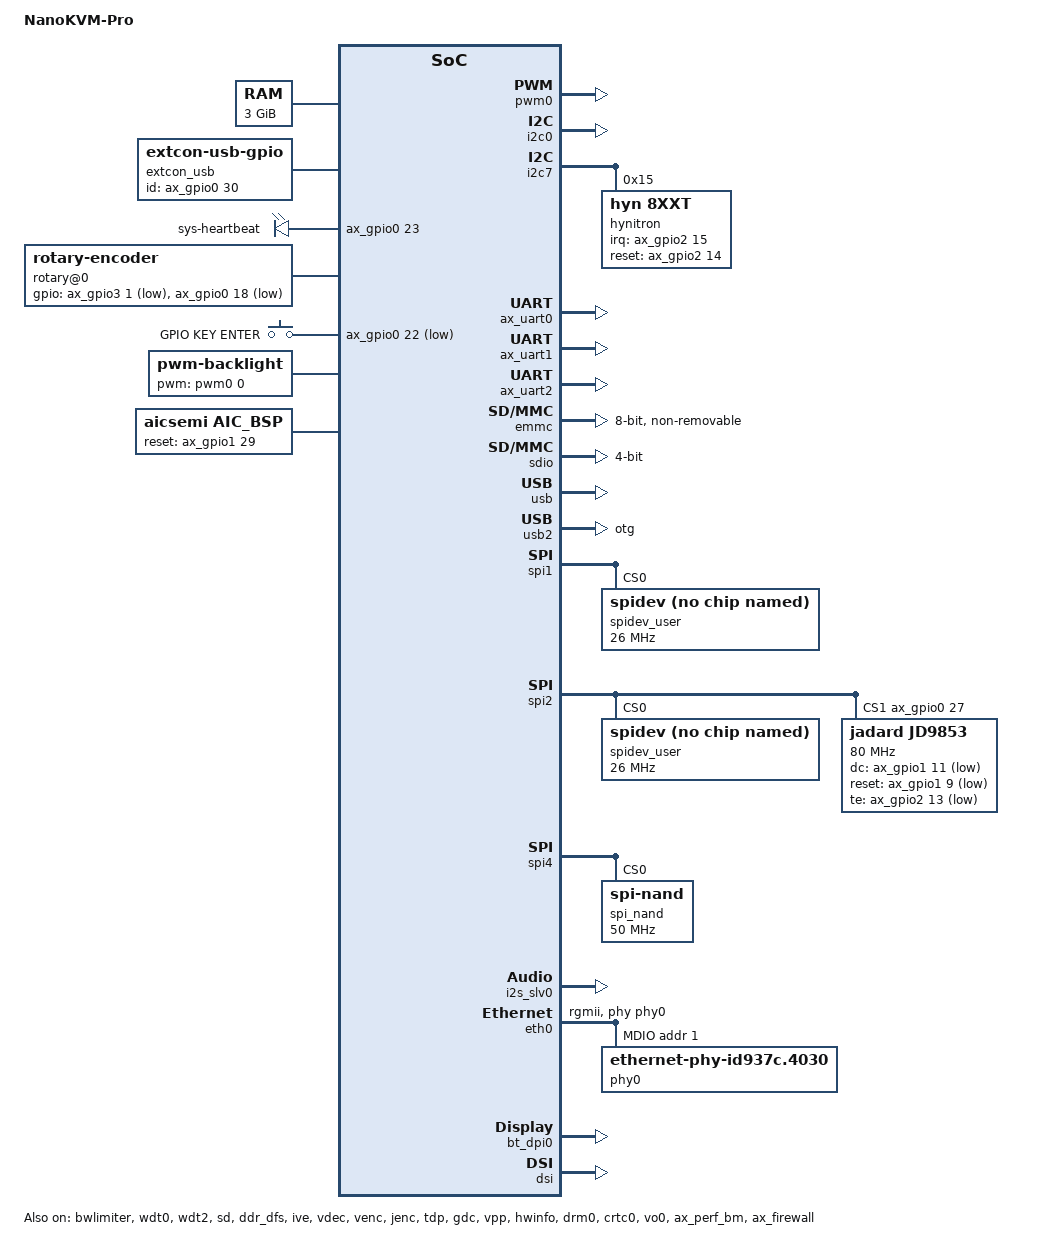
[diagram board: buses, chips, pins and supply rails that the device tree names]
// SPDX-License-Identifier: GPL-2.0
/**************************************************************************************************
 *
 * Copyright (c) 2019-2024 Axera Semiconductor Co., Ltd. All Rights Reserved.
 *
 * This dts file is the property of Axera Semiconductor Co., Ltd. and
 * may not be copied or distributed in any isomorphic form without the prior
 * written consent of Axera Semiconductor Co., Ltd.
 *
 **************************************************************************************************/

/dts-v1/;
#include "AX620E.dtsi"
/ {
	model = "NanoKVM-Pro";
	memory@40000000 {
		device_type = "memory";
		reg = <0x0 0x40000000 0x0 0xC0000000>;
	};
	reserved-memory {
		#address-cells = <2>;
		#size-cells = <2>;
		ranges;
		ramoops_mem@48000000 {
			compatible = "ramoops";
			reg = <0x0 0x48000000 0x0 0xf0000>;
			record-size = <0x40000>;
			console-size = <0x80000>;
			ftrace-size = <0x20000>;
		};
		axera_memory_dump@0 {
			compatible = "axera_memory_dump";
			reg = <0x0 0x480f0000 0x0 0x3000>;
			dump_ranges = <0x0 0x40001000 0x1 0x00000000>;
			no-map;
		};
		atf_reserved: atf_memreserved {
			reg = <ATF_RESERVED_START_HI ATF_RESERVED_START_LO ATF_RESERVED_SIZE_HI ATF_RESERVED_SIZE_LO>;
			no-map;
		};
#ifdef OPTEE_BOOT
		optee_reserved: optee_memserved {
			reg = <OPTEE_RESERVED_START_HI OPTEE_RESERVED_START_LO OPTEE_RESERVED_SIZE_HI OPTEE_RESERVED_SIZE_LO>;
			no-map;
		};
#endif
		axera_ddr_retrain@0 {
			compatible = "axera_ddr_retrain";
			reg = <0x0 0x40000000 0x0 0x1000>;
		};
	};

	chosen {
		bootargs = BOOTARGS;
	};

	dummy_codec: dummy-codec {
		compatible = "dummy-codec";
		#sound-dai-cells = <0>;
	};

	sound {
		status = "okay";
		compatible = "simple-audio-card";
		simple-audio-card,name = "Lontium Lt6911UXC";
		simple-audio-card,format = "i2s";
		simple-audio-card,bitclock-master = <&lt6911_codec>;
		simple-audio-card,frame-master = <&lt6911_codec>;

		simple-audio-card,cpu {
			sound-dai = <&i2s_slv0>;
		};

		lt6911_codec: simple-audio-card,codec {
			sound-dai = <&dummy_codec>;
		};
	};

	vfb0: vfb@0 {
		compatible = "axera,vfb";
		id = <0>;
		width = <480>;
		height = <640>;
		bpp = <32>;
		buf-num = <2>;
		status = "disabled";
	};

	vfb1: vfb@1 {
		compatible = "axera,vfb";
		id = <1>;
		width = <1920>;
		height = <1080>;
		bpp = <32>;
		buf-num = <2>;
		status = "disabled";
	};

	vfb2: vfb@2 {
		compatible = "axera,vfb";
		id = <2>;
		width = <64>;
		height = <64>;
		bpp = <32>;
		buf-num = <1>;
		cursor;
		status = "disabled";
	};

	axera_logctl {
		compatible = "axera,logctl";
		config = "/etc/ax_syslog.conf";
		logstate = /bits/ 8 <1 1>;
		loglevel = /bits/ 8 <4 4>;
	};

	extcon_usb: extcon_usb {
		compatible = "linux,extcon-usb-gpio";
		id-gpio = <&ax_gpio0 30 0>; /* GPIO0_A30 */
		status = "okay";
	};

	leds {
		status = "okay";
		compatible = "gpio-leds";
		pinctrl-names = "default";
		pinctrl-0 = <&sd_pwr_en_gpio0_a23_pins>;

        led-heartbeat {
            label = "sys-heartbeat";
            gpios = <&ax_gpio0 23 0>;
            linux,default-trigger = "heartbeat";
			status = "okay";
        };
	};

	rotary@0 {
		status = "okay";
		compatible = "rotary-encoder";
		pinctrl-names = "default";
		pinctrl-0 = <&gpio3_a1_pins>,
					<&bond2_gpio0_a18_pins>;
		gpios = <&ax_gpio3 1 1>, <&ax_gpio0 18 1>;
		linux,axis = <0>; /* REL_X */
		rotary-encoder,encoding = "gray";
		rotary-encoder,relative-axis;
		rotary-encoder,steps-per-period = <4>;
	};

	gpio_keys {
		status = "okay";
		compatible = "gpio-keys";
		pinctrl-names = "default";
		pinctrl-0 = <&tck_gpio0_a22_pins>;
		autorepeat;

		rokey: rokey {
			label = "GPIO KEY ENTER";
			linux,code = <28>;
			gpios = <&ax_gpio0 22 1>;
			debounce-interval = <10>;
		};
	};

	backlight: backlight {
		status = "okay";
		compatible = "pwm-backlight";
		pwms = <&pwm0 0 462963>;
		brightness-levels = <0 101>;
		num-interpolated-steps = <100>;
		default-brightness-level = <100>;
	};

	aic_bsp {
		compatible = "aicsemi,aic_bsp";
		reset-gpio = <&ax_gpio1 29 0>; // GPIO1_A29
		pinctrl-names = "default";
		pinctrl-0 = <&ephy_led1_gpio1_a29_pins>;
		status = "okay";
	};
};

&pwm0 {
	status = "okay";
	pinctrl-names = "default";
	pinctrl-0 = <&emac_ptp_pps0_pwm0_m_pins>;
};

&pwm1 {
	status = "disabled";
};

&pwm2 {
	status = "disabled";
};

&deb_gpio_lp {
	lp-status = <11 1>; /* use db_gpio11 as wakeup source */
	status = "okay";
};

&bwlimiter {
	status = "okay";
};

&i2c0 {
	/delete-property/ pinctrl-names;
	/delete-property/ pinctrl-0;
	/delete-property/ pinctrl-1;
	status = "okay";
};

&i2c1 {
	/delete-property/ pinctrl-names;
	/delete-property/ pinctrl-0;
	/delete-property/ pinctrl-1;
	status = "disabled";
};

&i2c6 {
	/delete-property/ pinctrl-names;
	/delete-property/ pinctrl-0;
	/delete-property/ pinctrl-1;
	status = "disabled";
};

&i2c7 {
	status = "okay";
	/delete-property/ pinctrl-names;
	/delete-property/ pinctrl-0;
	/delete-property/ pinctrl-1;
	#address-cells = <0x1>;
	#size-cells = <0x0>;

	hynitron: hynitron@15 {
		compatible = "hyn,8xxt";
        reg = <0x15>;
		pinctrl-names = "ts_active","ts_suspend";
		pinctrl-0 = <&cdtx_l2p_gpio2_a15_pins>,
					<&cdtx_l2n_gpio2_a14_pins>;
		pinctrl-1 = <&cdtx_l2p_gpio2_a15_pins>,
					<&cdtx_l2n_gpio2_a14_pins>;

		irq-gpio = <&ax_gpio2 15 0>;
		reset-gpio = <&ax_gpio2 14 0>;
		max-touch-number = <5>;

		display-coords = <0 0 172 320>;
		pos-swap = <0>;
		posx-reverse = <0>;
		posy-reverse = <0>;
		status = "okay";
	};
};

&i2c_slv0 {
	status = "disabled";
	#address-cells = <0x1>;
	#size-cells = <0x0>;
	i2c_slave_eeprom: i2c_slave_eeprom@55 {
		compatible = "axera,slave-24c02";
		reg = <0x40000055>;
		status = "okay";
	};
};

&ax_uart0 {
	status = "okay";
};

&ax_uart1 {
	status = "okay";
};

&ax_uart2 {
	status = "okay";
};

&ax_uart3 {
	status = "disabled";
};

&ax_uart4 {
	status = "disabled";
};

&ax_uart5 {
	pinctrl-names = "default";
	pinctrl-0 = <&emac_ptp_pps0_uart5_cts_pins>,
				<&emac_ptp_pps1_uart5_rts_pins>,
				<&emac_ptp_pps2_uart5_txd_pins>,
				<&emac_ptp_pps3_uart5_rxd_pins>;
	status = "disabled";
};

&wdt0 {
	status = "okay";
};

&wdt2 {
	status = "okay";
};

&emmc{
	max-frequency = <200000000>;
	sdhci-caps-mask = <0x2 0x03200000>;
	bus-width = <8>;
	no-sdio;
	no-sd;
	non-removable;
	disable-wp;
	cap-mmc-hw-reset;
	/* AX630C use GPIO2_A23 */
	hw-reset = <&ax_gpio2 23 0>;
	/* AX620Q use GPIO1_A0 */
	/* hw-reset = <&ax_gpio1 0 0>; */
	cap-mmc-highspeed;
	mmc-hs200-1_8v;
	mmc-hs400-1_8v;
	mmc-hs400-enhanced-strobe;
	cdns,phy-input-delay-sd-highspeed = <2>;
	cdns,phy-input-delay-legacy = <4>;
	cdns,phy-input-delay-sd-uhs-sdr12 = <1>;
	cdns,phy-input-delay-sd-uhs-sdr25 = <2>;
	cdns,phy-input-delay-sd-uhs-sdr50 = <1>;
	cdns,phy-input-delay-sd-uhs-ddr50 = <2>;
	cdns,phy-input-delay-mmc-legacy = <1>;
	cdns,phy-input-delay-mmc-highspeed = <2>;
	cdns,phy-input-delay-mmc-ddr = <2>;
	cdns,phy-dll-delay-sdclk = <45>;
	cdns,phy-dll-delay-sdclk-hsmmc = <31>;
	cdns,phy-dll-delay-strobe = <18>;
	fixed-emmc-driver-type = <4>;
	status = "okay";
};

&sd{
	sdhci-caps-mask = <0x7 0x00200000>;
	bus-width = <4>;
	max-frequency = <200000000>;
	cap-sd-highspeed;
	sd-uhs-sdr12;
	sd-uhs-sdr25;
	sd-uhs-sdr50;
	sd-uhs-ddr50;
	sd-uhs-sdr104;
	no-sdio;
	no-mmc;
	disable-wp;
#if 1
	broken-cd;
#else
	cd-gpios = <&ax_gpio1 11 0>;
	cd-inverted;
	cd-debounce-delay-ms = <300>;
#endif

	cdns,phy-input-delay-sd-highspeed = <2>;
	cdns,phy-input-delay-legacy = <3>;
	cdns,phy-input-delay-sd-uhs-sdr12 = <3>;
	cdns,phy-input-delay-sd-uhs-sdr25 = <2>;
	cdns,phy-input-delay-sd-uhs-sdr50 = <1>;
	cdns,phy-input-delay-sd-uhs-ddr50 = <1>;
	cdns,phy-dll-delay-sdclk = <0>;

	status = "okay";
};

&sdio{
	sdhci-caps-mask = <0x7 0x00200000>;
	bus-width = <4>;
	max-frequency = <200000000>;
	cap-sd-highspeed;
	sd-uhs-sdr25;
	sd-uhs-sdr12;
	sd-uhs-sdr50;
	sd-uhs-ddr50;
	//sd-uhs-sdr104;
	no-1-8-v;
	no-sd;
	no-mmc;
	disable-wp;
	broken-cd;
	cdns,phy-input-delay-sd-highspeed = <2>;
	cdns,phy-input-delay-legacy = <3>;
	cdns,phy-input-delay-sd-uhs-sdr12 = <3>;
	cdns,phy-input-delay-sd-uhs-sdr25 = <2>;
	cdns,phy-input-delay-sd-uhs-sdr50 = <1>;
	cdns,phy-input-delay-sd-uhs-ddr50 = <1>;
	cdns,phy-dll-delay-sdclk = <0>;

	status = "okay";
};

&usb {
	status = "okay";
};

&usb2 {
	dr_mode = "otg";
	extcon = <&extcon_usb>;
};

&spi0 {
	status = "disabled";
	spidev_user@0 {
		status = "okay";
		compatible = "axera,spidev";
		reg = <0>;
		spi-max-frequency = <26000000>;
	};
};

&spi1 {
	/* /delete-property/ dma-names; */
	/* /delete-property/ dmas; */
	/delete-property/ cs-gpios;
	status = "okay";
	pinctrl-names = "default";
	pinctrl-0 = <&vi_d0_spi_m1_mosi_pins>;

	spidev_user@0 {
		status = "okay";
		compatible = "axera,spidev";
		reg = <0>;
		spi-max-frequency = <26000000>;
	};
};

&spi2 {
	/* /delete-property/ dma-names; */
	/* /delete-property/ dmas; */
	status = "okay";
	pinctrl-names = "default";
	pinctrl-0 = <&uart3_txd_spi_m2_mosi_pins>,
				<&i2c1_scl_spi_m2_sclk_pins>,
				<&i2c1_sda_gpio0_a27_pins>,
				<&emac_ptp_pps3_gpio1_a11_pins>,
				<&emac_ptp_pps1_gpio1_a9_pins>,
				<&cdtx_l1p_gpio2_a13_pins>;
	num-cs = <2>;
	cs-gpios = <0>,<&ax_gpio0 27 0>;

	spidev_user@0 {
		status = "okay";
		compatible = "axera,spidev";
		reg = <0>;
		spi-max-frequency = <26000000>;
	};

	jd9853: jd9853@1{
		compatible = "jadard,jd9853";
		reg = <1>;
		status = "okay";
		spi-max-frequency = <80000000>;
		spi-cpol;
		spi-cpha;
		rotate = <0>;
		fps = <90>;
		rgb;
		buswidth = <8>;
		dc-gpios = <&ax_gpio1 11 1>;
		reset-gpios = <&ax_gpio1 9 1>;
		te-gpios = <&ax_gpio2 13 1>;
		debug = <0x1>;
	};
};

&spi_slv {
	status = "disabled";
	stream-tx-gpio = <&ax_gpio2 13 0>;
	stream-rx-gpio = <&ax_gpio2 14 0>;
};

&spi4 {
	status = "okay";
	spi_nand@0 {
		compatible = "spi-nand";
		reg = <0>;
		rx-sample-delay-ns = <4>;
		spi-max-frequency = <50000000>;
	};
	/*spi_flash@0 {
		#address-cells = <1>;
		#size-cells = <1>;
		compatible = "jedec,spi-nor";
		reg = <0>;
		spi-max-frequency = <50000000>;
	};*/
};

&audio_codec {
	gpio-mic-rp = <&ax_gpio1 7 0>; /* GPIO1_A7 */
	gpio-mic-rn = <&ax_gpio1 6 0>; /* GPIO1_A6 */
	gpio-mic-ln = <&ax_gpio1 5 0>; /* GPIO1_A5 */
	gpio-mic-lp = <&ax_gpio1 4 0>; /* GPIO1_A4 */
	gpio-pa-speaker = <&ax_gpio1 17 0>; /* GPIO1_A17 */
	status = "disabled";
};

&i2s_inner_mst0 {
	status = "disabled";
	/*i2s - pad0*/
	i2s-m-aec-cycle-sel = <0>;    /*23-22*/
	i2s-m-aec-sclk-sel = <0>;     /*21*/
	i2s-inner-codec-en = <1>;     /*20*/
	i2s-exter-codec-en = <0>;     /*19*/
	i2s-m-exter-codec-en = <0>;   /*18*/
	i2s-exter-codec-mst = <0>;    /*17*/
	i2s-m-exter-codec-mst = <0>;  /*16*/
	iis-out-tdm-en = <0>;         /*15*/
	iis-m-out-tdm-en = <0>;       /*14*/
	i2s-m-rx0-sel = <0>;          /*13*/
	i2s-m-rx1-sel = <0>;          /*12-11*/
	i2s-s-rx0-sel = <0>;          /*10-9*/
	i2s-s-rx1-sel = <2>;          /*8-7*/
	i2s-s-sclk-sel = <0>;         /*6-5*/
	tdm-m-rx-sel = <0>;           /*4-3*/
	tdm-s-rx-sel = <0>;           /*2-1*/
	tdm-s-sclk-sel = <0>;         /*0*/
};

&i2s_inner_slv0 {
	status = "disabled";
	/*i2s - pad0*/
	i2s-m-aec-cycle-sel = <0>;    /*23-22*/
	i2s-m-aec-sclk-sel = <0>;     /*21*/
	i2s-inner-codec-en = <1>;     /*20*/
	i2s-exter-codec-en = <0>;     /*19*/
	i2s-m-exter-codec-en = <0>;   /*18*/
	i2s-exter-codec-mst = <0>;    /*17*/
	i2s-m-exter-codec-mst = <0>;  /*16*/
	iis-out-tdm-en = <0>;         /*15*/
	iis-m-out-tdm-en = <0>;       /*14*/
	i2s-m-rx0-sel = <0>;          /*13*/
	i2s-m-rx1-sel = <0>;          /*12-11*/
	i2s-s-rx0-sel = <0>;          /*10-9*/
	i2s-s-rx1-sel = <2>;          /*8-7*/
	i2s-s-sclk-sel = <0>;         /*6-5*/
	tdm-m-rx-sel = <0>;           /*4-3*/
	tdm-s-rx-sel = <0>;           /*2-1*/
	tdm-s-sclk-sel = <0>;         /*0*/
};

&i2s_mst0 {
	status = "disabled";
	/*i2s - pad0*/
	i2s-m-aec-cycle-sel = <0>;    /*23-22*/
	i2s-m-aec-sclk-sel = <0>;     /*21*/
	i2s-inner-codec-en = <0>;     /*20*/
	i2s-exter-codec-en = <1>;     /*19*/
	i2s-m-exter-codec-en = <0>;   /*18*/
	i2s-exter-codec-mst = <1>;    /*17*/
	i2s-m-exter-codec-mst = <0>;  /*16*/
	iis-out-tdm-en = <0>;         /*15*/
	iis-m-out-tdm-en = <0>;       /*14*/
	i2s-m-rx0-sel = <0>;          /*13*/
	i2s-m-rx1-sel = <2>;          /*12-11*/
	i2s-s-rx0-sel = <0>;          /*10-9*/
	i2s-s-rx1-sel = <0>;          /*8-7*/
	i2s-s-sclk-sel = <0>;         /*6-5*/
	tdm-m-rx-sel = <0>;           /*4-3*/
	tdm-s-rx-sel = <0>;           /*2-1*/
	tdm-s-sclk-sel = <0>;         /*0*/
};

&i2s_slv0 {
	status = "okay";
	/*i2s - pad0*/
	i2s-m-aec-cycle-sel = <0>;    /*23-22*/
	i2s-m-aec-sclk-sel = <0>;     /*21*/
	i2s-inner-codec-en = <0>;     /*20*/
	i2s-exter-codec-en = <1>;     /*19*/
	i2s-m-exter-codec-en = <0>;   /*18*/
	i2s-exter-codec-mst = <0>;    /*17*/
	i2s-m-exter-codec-mst = <0>;  /*16*/
	iis-out-tdm-en = <0>;         /*15*/
	iis-m-out-tdm-en = <0>;       /*14*/
	i2s-m-rx0-sel = <0>;          /*13*/
	i2s-m-rx1-sel = <0>;          /*12-11*/
	i2s-s-rx0-sel = <3>;          /*10-9*/
	i2s-s-rx1-sel = <0>;          /*8-7*/
	i2s-s-sclk-sel = <1>;         /*6-5*/
	tdm-m-rx-sel = <0>;           /*4-3*/
	tdm-s-rx-sel = <0>;           /*2-1*/
	tdm-s-sclk-sel = <0>;         /*0*/
};

&i2s_tdm_mst0 {
	status = "disabled";
	/*i2s - pad0*/
	i2s-m-aec-cycle-sel = <0>;    /*23-22*/
	i2s-m-aec-sclk-sel = <0>;     /*21*/
	i2s-inner-codec-en = <0>;     /*20*/
	i2s-exter-codec-en = <1>;     /*19*/
	i2s-m-exter-codec-en = <0>;   /*18*/
	i2s-exter-codec-mst = <1>;    /*17*/
	i2s-m-exter-codec-mst = <0>;  /*16*/
	iis-out-tdm-en = <1>;         /*15*/
	iis-m-out-tdm-en = <0>;       /*14*/
	i2s-m-rx0-sel = <0>;          /*13*/
	i2s-m-rx1-sel = <0>;          /*12-11*/
	i2s-s-rx0-sel = <0>;          /*10-9*/
	i2s-s-rx1-sel = <0>;          /*8-7*/
	i2s-s-sclk-sel = <0>;         /*6-5*/
	tdm-m-rx-sel = <0>;           /*4-3*/
	tdm-s-rx-sel = <0>;           /*2-1*/
	tdm-s-sclk-sel = <0>;         /*0*/
};

&i2s_tdm_slv0 {
	status = "disabled";
	/*i2s - pad0*/
	i2s-m-aec-cycle-sel = <0>;    /*23-22*/
	i2s-m-aec-sclk-sel = <0>;     /*21*/
	i2s-inner-codec-en = <0>;     /*20*/
	i2s-exter-codec-en = <1>;     /*19*/
	i2s-m-exter-codec-en = <0>;   /*18*/
	i2s-exter-codec-mst = <0>;    /*17*/
	i2s-m-exter-codec-mst = <0>;  /*16*/
	iis-out-tdm-en = <0>;         /*15*/
	iis-m-out-tdm-en = <0>;       /*14*/
	i2s-m-rx0-sel = <0>;          /*13*/
	i2s-m-rx1-sel = <0>;          /*12-11*/
	i2s-s-rx0-sel = <0>;          /*10-9*/
	i2s-s-rx1-sel = <0>;          /*8-7*/
	i2s-s-sclk-sel = <0>;         /*6-5*/
	tdm-m-rx-sel = <0>;           /*4-3*/
	tdm-s-rx-sel = <0>;           /*2-1*/
	tdm-s-sclk-sel = <0>;         /*0*/
};

&eth0 {
	status = "okay";

	phy-handle = <&phy0>;
	phy-mode = "rgmii";
	phy-rst-gpio = <&ax_gpio1 27 0>; /* GPIO1_A27 */

	mdio {
		#address-cells = <1>;
		#size-cells = <0>;
		compatible = "snps,dwmac-mdio";
		phy0: jl2xxx-phy@1 {
			compatible = "ethernet-phy-id937c.4030";
			jl2xxx,led-enable = <JL2XXX_LED_CTRL_EN>;
			jl2xxx,led-mode = <JL2XXX_CFG_LED_MODE>;
			jl2xxx,led-period = <JL2XXX_GLOBAL_PERIOD_MS>;
			jl2xxx,led-on = <JL2XXX_GLOBAL_ON_MS>;
			jl2xxx,led-polarity = <JL2XXX_LED_POLARITY>;
			jl2xxx,patch-enable = <JL2XXX_PATCH_CTRL_EN>;
			jl2xxx,rgmii-enable = <JL2XXX_RGMII_CTRL_EN>;
			jl2xxx,clk-enable = <JL2XXX_CLK_CTRL_EN>;
			jl2xxx,fld-enable = <JL2XXX_FLD_CTRL_EN>;
			jl2xxx,fld-delay = <JL2XXX_FLD_DELAY>;
			jl2xxx,wol-enable = <JL2XXX_WOL_CTRL_EN>;
			jl2xxx,interrupt-enable = <JL2XXX_INTR_CTRL_EN>;
			jl2xxx,downshift-enable = <JL2XXX_DSFT_CTRL_EN>;
			jl2xxx,downshift-count = <JL2XXX_DSFT_AN_CNT>;
			jl2xxx,work_mode-enable = <JL2XXX_WORK_MODE_CTRL_EN>;
			jl2xxx,work_mode-mode = <JL2XXX_WOEK_MODE_MODE>;
			jl2xxx,lpbk-enable = <JL2XXX_LPBK_CTRL_EN>;
			jl2xxx,lpbk-mode = <JL2XXX_LPBK_MODE>;
			jl2xxx,slew_rate-enable = <JL2XXX_SLEW_RATE_CTRL_EN>;
			jl2xxx,rxc_out-enable = <JL2XXX_RXC_OUT_CTRL_EN>;
			reg = <1>;
		};
	};
};

&ddr_dfs {
       status = "okay";
};

&ive {
	status = "okay";
};

&vdec {
	status = "okay";
};

&venc {
	status = "okay";
};

&jenc {
	status = "okay";
};

&tdp {
	status = "okay";
};

&gdc {
	status = "okay";
};

&vpp {
	status = "okay";
};

&axera_rtc_pwr {
	status = "disabled";
};

&hwinfo {
	status = "okay";
};

&drm0 {
	status = "okay";
};

&drm1 {
	status = "disable";
};

&crtc0 {
	status = "okay";
};

&crtc1 {
	status = "disable";
};

&vo0 {
	status = "okay";
};

&vo1 {
	status = "disable";
};

&bt_dpi0 {
	status = "okay";
};

&bt_dpi1 {
	status = "disable";
};

&dsi {
	status = "okay";
};

&dma {
	status = "okay";
};

&dma_per {
	status = "okay";
};

&dmac {
	status = "okay";
};

&ax_perf_bm {
	status = "okay";
};

&ax_firewall {
	status = "okay";
};

&panel_dsi {
	status = "disabled";
	prepare-delay-ms = <0>;
	unprepare-delay-ms = <0>;
	enable-delay-ms = <0>;
	disable-delay-ms = <150>;
	reset-gpio = <&ax_gpio0 23 0>;
	pinctrl-names = "default";
	pinctrl-0 = <&sd_pwr_en_gpio0_a23_pins>;

	dsi,format = <MIPI_DSI_FMT_RGB888>;
	dsi,lanes = <2>;
	dsi,flags = <(MIPI_DSI_MODE_VIDEO_SYNC_PULSE | MIPI_DSI_MODE_VIDEO | MIPI_DSI_MODE_LPM |MIPI_DSI_CLOCK_NON_CONTINUOUS )>;
	panel-init-seq = [39 3c 06 ff 77 01 00 00 13
			15 00 02 ef 08
			39 00 06 ff 77 01 00 00 10
			39 00 03 c0 4f 00
			39 00 03 c1 10 0c
			39 00 03 c2 01 14
			15 00 02 cc 10
			39 00 11 b0 00 0b 13 0d 10 07 02 08 07 1f 04 11 0f 28 2f 1f
			39 00 11 b1 00 0c 13 0c 10 05 02 08 08 1e 05 13 11 27 30 1f
			39 00 06 ff 77 01 00 00 11
			15 00 02 b0 4d
			15 00 02 b1 6a
			15 00 02 b2 87
			15 00 02 b3 80
			15 00 02 b5 45
			15 00 02 b7 85
			15 00 02 b8 20
			15 00 02 c1 78
			15 00 02 c2 78
			15 64 02 d0 88
			39 00 04 e0 00 00 02
			39 00 0c e1 04 b0 06 b0 05 b0 07 b0 00 44 44
			39 00 0d e2 20 20 44 44 96 a0 00 00 96 a0 00 00
			39 00 05 e3 00 00 22 22
			39 00 03 e4 44 44
			39 00 11 e5 0c 90 b0 a0 0e 92 b0 a0 08 8c b0 a0 0a 8e b0 a0
			39 00 05 e6 00 00 22 22
			39 00 03 e7 44 44
			39 00 11 e8 0d 91 b0 a0 0f 93 b0 a0 09 8d b0 a0 0b 8f b0 a0
			39 00 03 e9 36 00
			39 00 08 eb 00 00 e4 e4 44 88 40
			39 00 11 ed f1 b2 ac 0f 67 45 ff ff ff ff 54 76 f0 ca 2b 1f
			39 00 07 ef 10 0d 04 08 3f 1f
			39 00 06 ff 77 01 00 00 13
			39 00 03 e8 00 0e
			39 00 06 ff 77 01 00 00 00
			05 78 01 11
			39 00 06 ff 77 01 00 00 13
			39 0A 04 11 e8 00 0c
			39 00 03 e8 00 00
			39 00 06 ff 77 01 00 00 00
			15 00 02 36 10
			05 14 01 29];
	panel-exit-seq = [05 00 01 10];
	dsi-panel_esd_check_enable = /bits/ 8 <0>;
	dsi-panel-check-mode = /bits/ 8 <0>;
	dsi-panel-read-reg = /bits/ 8 <0x0A>;
	dsi-panel-read-length = /bits/ 8 <1>;
	dsi-panel-max-error-count = /bits/ 8 <3>;
	dsi-panel-status-value = /bits/ 8 <0x9D>;
	dsi-panel-check-interval-ms = <2000>;
};

&panel0 {
	status = "disable";
};

&panel1 {
	status = "disable";
};

&lvdstx {
	status = "disable";
};

&panel_lvds {
	status = "disable";
	data-mapping = "vesa-24";
};
